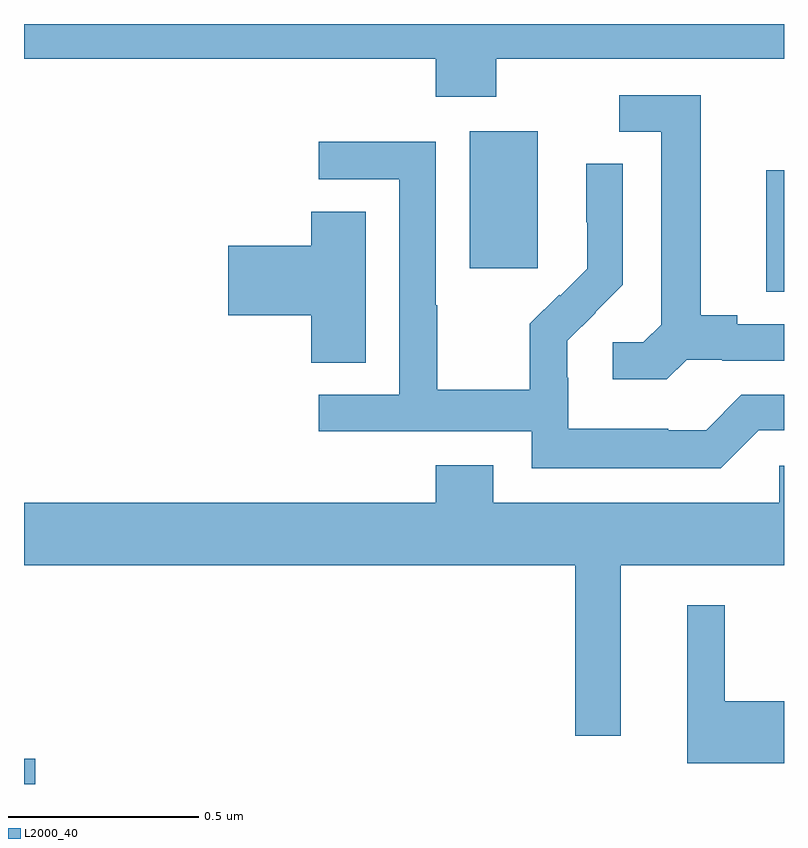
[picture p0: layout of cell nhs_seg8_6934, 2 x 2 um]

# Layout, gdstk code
import gdstk
lib = gdstk.Library(unit=1e-6, precision=1e-09)
def R(c, l, rs):  # rectangles x0, y0, x1, y1
    for r in rs: c.add(gdstk.rectangle(r[:2], r[2:], *l))
def P(c, l, *ps):  # polygons
    for p in ps: c.add(gdstk.Polygon(p, *l))
L2000_40 = (2000, 40)

nhs_seg8_6934 = lib.new_cell('nhs_seg8_6934')
R(nhs_seg8_6934, L2000_40, [(203,1139.9,203.029,1139.966), (204.953,1141.195,205,1141.515), (204.173,1141.257,204.352,1141.618)])
P(nhs_seg8_6934, L2000_40, [(204.243,1141.808),(205,1141.808),(205,1141.9),(203,1141.9),(203,1141.808),(204.083,1141.808),(204.083,1141.709),(204.243,1141.709)],
  [(204.744,1141.017),(204.838,1141.017),(204.838,1141.014),(205,1141.014),(205,1141.11),(204.877,1141.11),(204.877,1141.133),(204.781,1141.133),(204.781,1141.713),(204.567,1141.713),(204.567,1141.617),(204.677,1141.617),(204.677,1141.109),(204.63,1141.062),(204.549,1141.062),(204.549,1140.965),(204.692,1140.965)],
  [(204.933,1140.831),(205,1140.831),(205,1140.924),(204.888,1140.924),(204.795,1140.831),(204.695,1140.831),(204.695,1140.835),(204.432,1140.835),(204.432,1140.969),(204.43,1140.969),(204.43,1141.066),(204.504,1141.14),(204.503,1141.141),(204.576,1141.214),(204.576,1141.532),(204.48,1141.532),(204.48,1141.378),(204.482,1141.378),(204.482,1141.256),(204.411,1141.185),(204.408,1141.188),(204.331,1141.111),(204.331,1140.937),(204.087,1140.937),(204.087,1141.16),(204.084,1141.16),(204.084,1141.59),(203.775,1141.59),(203.775,1141.491),(203.988,1141.491),(203.988,1140.924),(203.775,1140.924),(203.775,1140.828),(204.336,1140.828),(204.336,1140.731),(204.833,1140.731)],
  [(203.899,1141.406),(203.756,1141.406),(203.756,1141.316),(203.538,1141.316),(203.538,1141.133),(203.756,1141.133),(203.756,1141.009),(203.899,1141.009)],
  [(204.571,1140.476),(205,1140.476),(205,1140.738),(204.987,1140.738),(204.987,1140.64),(204.235,1140.64),(204.235,1140.739),(204.083,1140.739),(204.083,1140.64),(203,1140.64),(203,1140.476),(204.45,1140.476),(204.45,1140.027),(204.571,1140.027)],
  [(205,1140.118),(204.844,1140.118),(204.844,1140.37),(204.746,1140.37),(204.746,1139.954),(205,1139.954)])

lib.write_gds('nhs_seg8_6934.gds')
